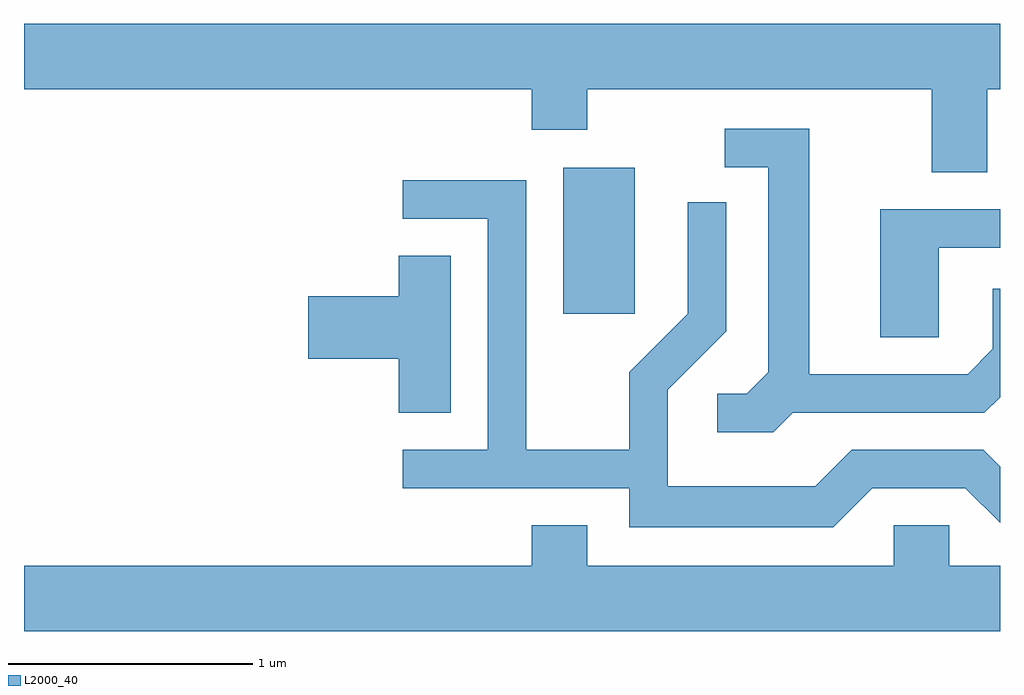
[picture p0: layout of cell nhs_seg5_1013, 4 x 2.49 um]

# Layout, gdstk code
import gdstk
lib = gdstk.Library(unit=1e-6, precision=1e-09)
def R(c, l, rs):  # rectangles x0, y0, x1, y1
    for r in rs: c.add(gdstk.rectangle(r[:2], r[2:], *l))
def P(c, l, *ps):  # polygons
    for p in ps: c.add(gdstk.Polygon(p, *l))
L2000_40 = (2000, 40)

nhs_seg5_1013 = lib.new_cell('nhs_seg5_1013')
R(nhs_seg5_1013, L2000_40, [(217.821,1400.376,218.114,1400.974)])
P(nhs_seg5_1013, L2000_40, [(219.559,1401.296),(219.611,1401.296),(219.611,1401.564),(215.611,1401.564),(215.611,1401.296),(217.691,1401.296),(217.691,1401.131),(217.919,1401.131),(217.919,1401.296),(219.331,1401.296),(219.331,1400.956),(219.559,1400.956)],
  [(218.762,1399.971),(219.547,1399.971),(219.611,1400.035),(219.611,1400.478),(219.581,1400.478),(219.581,1400.232),(219.479,1400.129),(218.829,1400.129),(218.829,1401.134),(218.483,1401.134),(218.483,1400.976),(218.661,1400.976),(218.661,1400.137),(218.574,1400.049),(218.453,1400.049),(218.453,1399.891),(218.682,1399.891)],
  [(219.087,1399.661),(219.469,1399.661),(219.611,1399.519),(219.611,1399.75),(219.542,1399.819),(219.004,1399.819),(218.854,1399.669),(218.249,1399.669),(218.249,1400.064),(218.489,1400.304),(218.489,1400.833),(218.331,1400.833),(218.331,1400.377),(218.091,1400.137),(218.091,1399.819),(217.669,1399.819),(217.669,1400.924),(217.163,1400.924),(217.163,1400.766),(217.511,1400.766),(217.511,1399.819),(217.163,1399.819),(217.163,1399.661),(218.091,1399.661),(218.091,1399.501),(218.927,1399.501)],
  [(219.359,1400.646),(219.611,1400.646),(219.611,1400.804),(219.121,1400.804),(219.121,1400.281),(219.359,1400.281)],
  [(217.359,1400.614),(217.146,1400.614),(217.146,1400.449),(216.776,1400.449),(216.776,1400.191),(217.146,1400.191),(217.146,1399.971),(217.359,1399.971)],
  [(219.611,1399.344),(219.404,1399.344),(219.404,1399.509),(219.176,1399.509),(219.176,1399.344),(217.919,1399.344),(217.919,1399.509),(217.691,1399.509),(217.691,1399.344),(215.611,1399.344),(215.611,1399.076),(219.611,1399.076)])

lib.write_gds('nhs_seg5_1013.gds')
